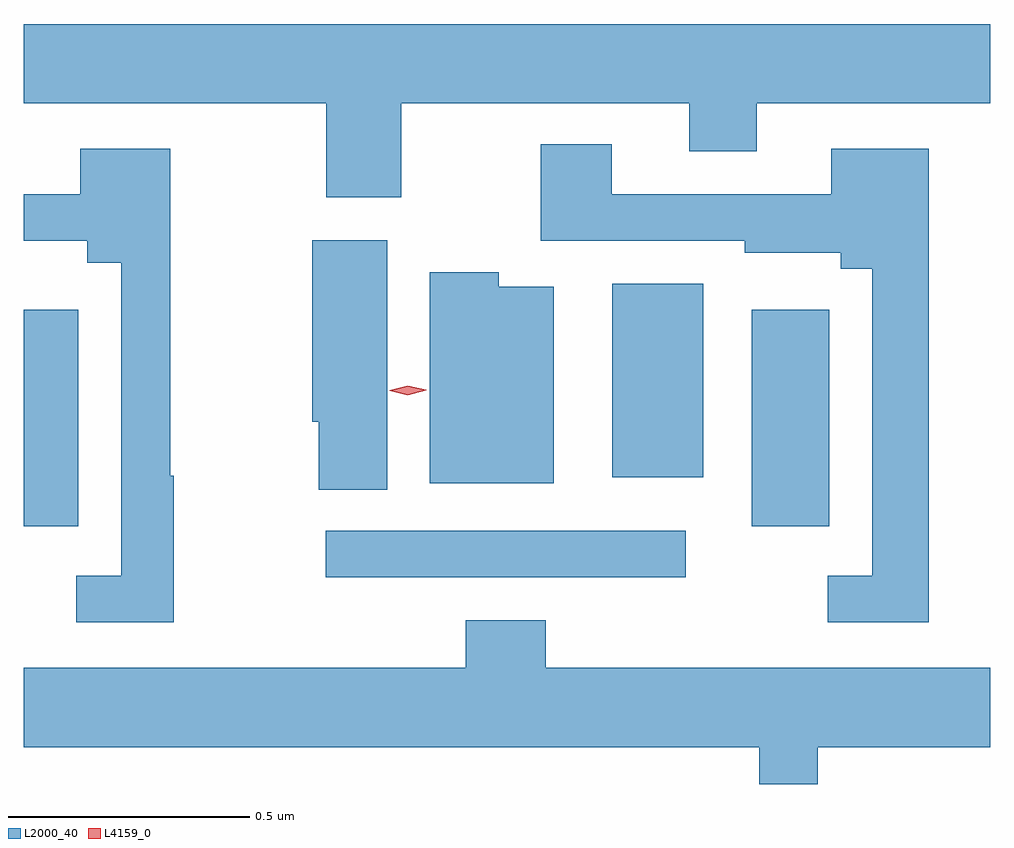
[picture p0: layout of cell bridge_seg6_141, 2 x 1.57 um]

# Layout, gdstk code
import gdstk
lib = gdstk.Library(unit=1e-6, precision=1e-09)
def R(c, l, rs):  # rectangles x0, y0, x1, y1
    for r in rs: c.add(gdstk.rectangle(r[:2], r[2:], *l))
def P(c, l, *ps):  # polygons
    for p in ps: c.add(gdstk.Polygon(p, *l))
L2000_40 = (2000, 40)
L4159_0 = (4159, 0)

bridge_seg6_141 = lib.new_cell('bridge_seg6_141')
R(bridge_seg6_141, L2000_40, [(410.457,955.68,411.202,955.776), (409.832,955.785,409.945,956.233), (411.338,955.785,411.499,956.233), (411.05,955.886,411.238,956.287)])
P(bridge_seg6_141, L2000_40, [(410.613,956.66),(411.209,956.66),(411.209,956.561),(411.349,956.561),(411.349,956.66),(411.832,956.66),(411.832,956.824),(409.832,956.824),(409.832,956.66),(410.458,956.66),(410.458,956.466),(410.613,956.466)],
  [(411.704,956.566),(411.503,956.566),(411.503,956.472),(411.049,956.472),(411.049,956.575),(410.902,956.575),(410.902,956.376),(411.324,956.376),(411.324,956.351),(411.522,956.351),(411.522,956.318),(411.588,956.318),(411.588,955.683),(411.495,955.683),(411.495,955.587),(411.704,955.587)],
  [(410.143,955.89),(410.135,955.89),(410.135,956.566),(409.949,956.566),(409.949,956.472),(409.832,956.472),(409.832,956.376),(409.964,956.376),(409.964,956.33),(410.034,956.33),(410.034,955.683),(409.941,955.683),(409.941,955.587),(410.143,955.587)],
  [(410.584,956.377),(410.429,956.377),(410.429,956.001),(410.443,956.001),(410.443,955.861),(410.584,955.861)],
  [(410.929,956.281),(410.815,956.281),(410.815,956.311),(410.672,956.311),(410.672,955.874),(410.929,955.874)],
  [(411.475,955.328),(411.832,955.328),(411.832,955.492),(410.912,955.492),(410.912,955.591),(410.747,955.591),(410.747,955.492),(409.832,955.492),(409.832,955.328),(411.354,955.328),(411.354,955.252),(411.475,955.252)])
P(bridge_seg6_141, L4159_0, [(410.627,956.056),(410.589,956.065),(410.589,956.066),(410.589,956.066),(410.627,956.076),(410.665,956.067),(410.665,956.067),(410.665,956.066)])

lib.write_gds('bridge_seg6_141.gds')
